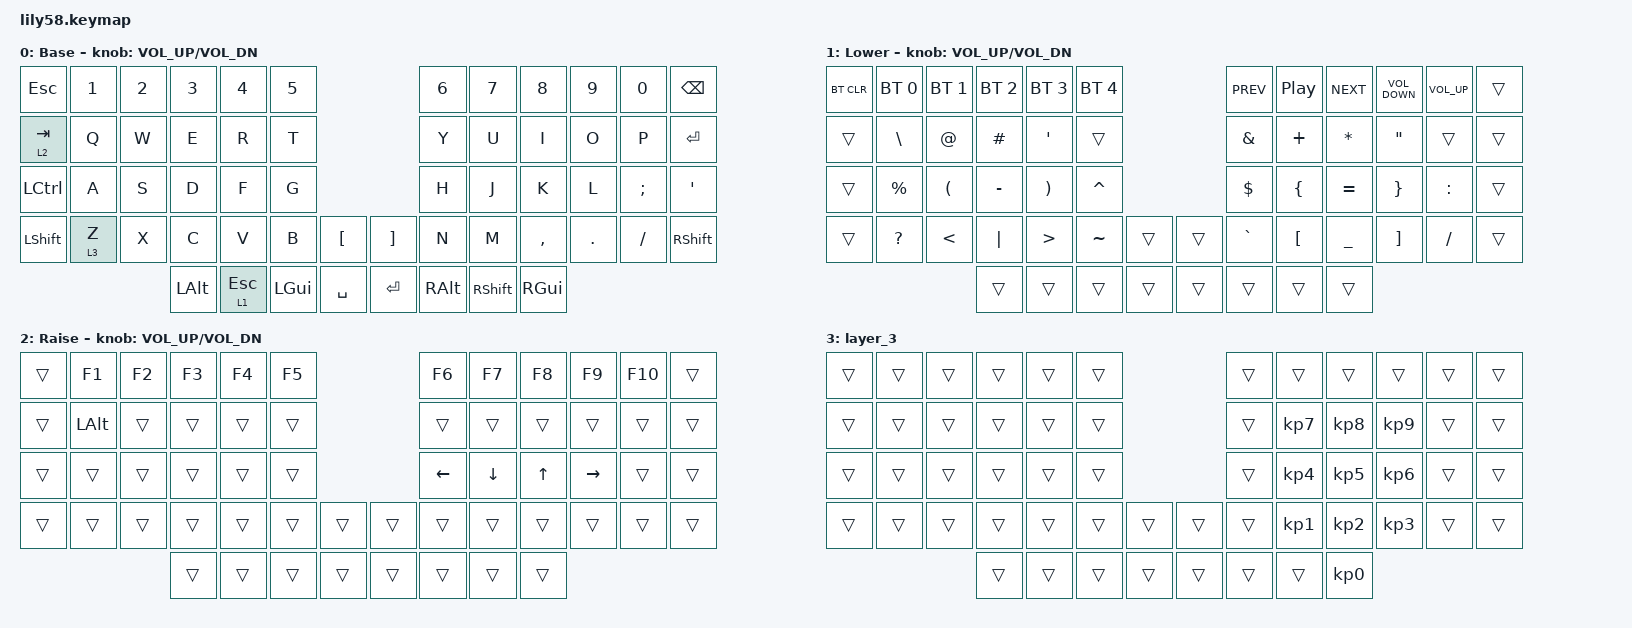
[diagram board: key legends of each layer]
/*
 * Copyright (c) 2020 The ZMK Contributors
 *
 * SPDX-License-Identifier: MIT
 */

#include <behaviors.dtsi>
#include <dt-bindings/zmk/bt.h>
#include <dt-bindings/zmk/keys.h>

/ {
    keymap {
        compatible = "zmk,keymap";

        default_layer {
            // ------------------------------------------------------------------------------------------------------------
            // |  ESC  |  1  |  2  |  3   |  4   |  5   |                   |  6   |  7    |  8    |  9   |   0   |   `   |
            // |  TAB  |  Q  |  W  |  E   |  R   |  T   |                   |  Y   |  U    |  I    |  O   |   P   |   -   |
            // |  CTRL |  A  |  S  |  D   |  F   |  G   |                   |  H   |  J    |  K    |  L   |   ;   |   '   |
            // | SHIFT |  Z  |  X  |  C   |  V   |  B   |   "["  |  |  "]"  |  N   |  M    |  ,    |  .   |   /   | SHIFT |
            //                     | ALT  | GUI  | LOWER|  SPACE |  | ENTER | RAISE| BSPC  | GUI   |

            display-name = "Base";
            bindings = <
&kp ESC    &kp N1   &kp N2  &kp N3    &kp N4     &kp N5                               &kp N6         &kp N7           &kp N8     &kp N9   &kp N0    &kp BACKSPACE
&lt 2 TAB  &kp Q    &kp W   &kp E     &kp R      &kp T                                &kp Y          &kp U            &kp I      &kp O    &kp P     &kp ENTER
&kp LCTRL  &kp A    &kp S   &kp D     &kp F      &kp G                                &kp H          &kp J            &kp K      &kp L    &kp SEMI  &kp SQT
&kp LSHFT  &lt 3 Z  &kp X   &kp C     &kp V      &kp B         &kp LBKT     &kp RBKT  &kp N          &kp M            &kp COMMA  &kp DOT  &kp FSLH  &kp RSHFT
                            &kp LALT  &lt 1 ESC  &kp LEFT_GUI  &kp SPACE    &kp RET   &kp RIGHT_ALT  &kp RIGHT_SHIFT  &kp RGUI
            >;

            sensor-bindings = <&inc_dec_kp C_VOL_UP C_VOL_DN>;
        };

        lower_layer {
            // ------------------------------------------------------------------------------------------------------------
            // | BTCLR | BT1 | BT2 |  BT3 |  BT4 |  BT5 |                   |      |       |       |      |       |       |
            // |  F1   |  F2 |  F3 |  F4  |  F5  |  F6  |                   |  F7  |  F8   |  F9   |  F10 |  F11  |  F12  |
            // |   `   |  !  |  @  |  #   |  $   |  %   |                   |  ^   |  &    |  *    |  (   |   )   |   ~   |
            // |       |     |     |      |      |      |        |  |       |      |  _    |  +    |  {   |   }   |  "|"  |
            //                     |      |      |      |        |  |       |      |       |       |

            display-name = "Lower";
            bindings = <
&bt BT_CLR  &bt BT_SEL 0   &bt BT_SEL 1          &bt BT_SEL 2  &bt BT_SEL 3           &bt BT_SEL 4                    &kp C_PREV     &kp C_PLAY_PAUSE  &kp C_NEXT      &kp C_VOLUME_DOWN  &kp C_VOLUME_UP  &trans
&trans      &kp BACKSLASH  &kp AT_SIGN           &kp HASH      &kp SINGLE_QUOTE       &trans                          &kp AMPERSAND  &kp PLUS          &kp ASTERISK    &kp DOUBLE_QUOTES  &trans           &trans
&trans      &kp PERCENT    &kp LEFT_PARENTHESIS  &kp MINUS     &kp RIGHT_PARENTHESIS  &kp CARET                       &kp DOLLAR     &kp LEFT_BRACE    &kp EQUAL       &kp RIGHT_BRACE    &kp COLON        &trans
&trans      &kp QUESTION   &kp LESS_THAN         &kp PIPE      &kp GREATER_THAN       &kp TILDE     &trans    &trans  &kp GRAVE      &kp LEFT_BRACKET  &kp UNDERSCORE  &kp RIGHT_BRACKET  &kp SLASH        &trans
                                                 &trans        &trans                 &trans        &trans    &trans  &trans         &trans            &trans
            >;

            sensor-bindings = <&inc_dec_kp C_VOL_UP C_VOL_DN>;
        };

        raise_layer {
            // ------------------------------------------------------------------------------------------------------------
            // |       |     |     |      |      |      |                   |      |       |       |      |       |       |
            // |   `   |  1  |  2  |  3   |  4   |  5   |                   |  6   |   7   |   8   |  9   |   0   |       |
            // |   F1  |  F2 |  F3 |  F4  |  F5  |  F6  |                   |      |   <-  |   v   |  ^   |  ->   |       |
            // |   F7  |  F8 |  F9 |  F10 |  F11 |  F12 |        |  |       |  +   |   -   |   =   |  [   |   ]   |   \   |
            //                     |      |      |      |        |  |       |      |       |       |

            display-name = "Raise";
            bindings = <
&trans  &kp F1        &kp F2  &kp F3  &kp F4  &kp F5                    &kp F6    &kp F7          &kp F8        &kp F9     &kp F10  &trans
&trans  &kp LEFT_ALT  &trans  &trans  &trans  &trans                    &trans    &trans          &trans        &trans     &trans   &trans
&trans  &trans        &trans  &trans  &trans  &trans                    &kp LEFT  &kp DOWN_ARROW  &kp UP_ARROW  &kp RIGHT  &trans   &trans
&trans  &trans        &trans  &trans  &trans  &trans  &trans    &trans  &trans    &trans          &trans        &trans     &trans   &trans
                              &trans  &trans  &trans  &trans    &trans  &trans    &trans          &trans
            >;

            sensor-bindings = <&inc_dec_kp C_VOL_UP C_VOL_DN>;
        };

        layer_3 {
            bindings = <
&trans  &trans  &trans  &trans  &trans  &trans                    &trans  &trans           &trans           &trans           &trans  &trans
&trans  &trans  &trans  &trans  &trans  &trans                    &trans  &kp KP_NUMBER_7  &kp KP_NUMBER_8  &kp KP_NUMBER_9  &trans  &trans
&trans  &trans  &trans  &trans  &trans  &trans                    &trans  &kp KP_NUMBER_4  &kp KP_NUMBER_5  &kp KP_NUMBER_6  &trans  &trans
&trans  &trans  &trans  &trans  &trans  &trans  &trans    &trans  &trans  &kp KP_NUMBER_1  &kp KP_NUMBER_2  &kp KP_NUMBER_3  &trans  &trans
                        &trans  &trans  &trans  &trans    &trans  &trans  &trans           &kp KP_NUMBER_0
            >;
        };
    };
};
